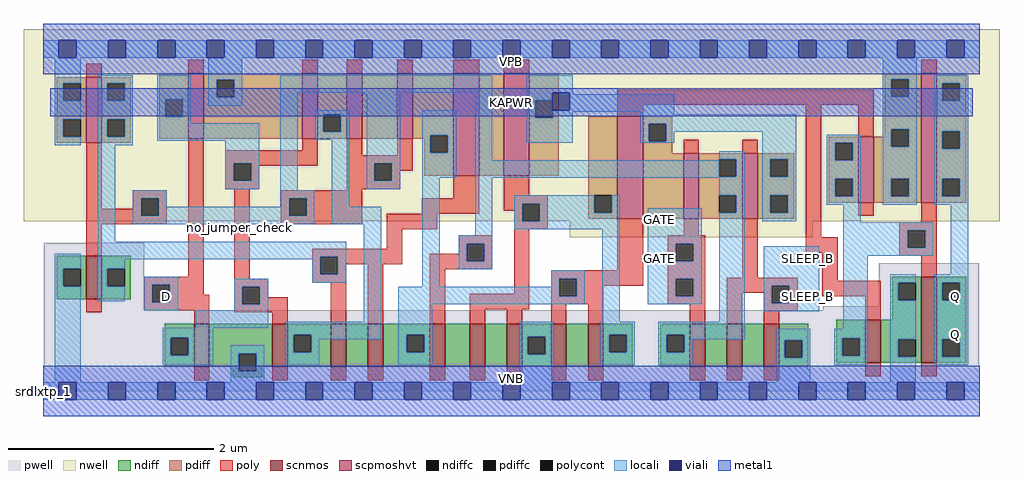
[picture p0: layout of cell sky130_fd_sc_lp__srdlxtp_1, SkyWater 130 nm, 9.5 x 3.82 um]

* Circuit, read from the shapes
.subckt sky130_fd_sc_lp__srdlxtp_1 D GATE SLEEP_B KAPWR VGND VNB VPB VPWR Q
XM1 n1 n2 VGND VNB sky130_fd_pr__nfet_01v8 w=0.42 l=0.15
XM2 VGND D n3 VNB sky130_fd_pr__nfet_01v8 w=0.42 l=0.15
XM3 n4 n3 VGND VNB sky130_fd_pr__nfet_01v8 w=0.42 l=0.15
XM4 n5 n1 n4 VNB sky130_fd_pr__nfet_01v8 w=0.42 l=0.15
XM5 n6 n1 n5 VNB sky130_fd_pr__nfet_01v8 w=0.42 l=0.15
XM6 n7 n2 n6 VNB sky130_fd_pr__nfet_01v8 w=0.42 l=0.15
XM7 n8 n9 n7 VNB sky130_fd_pr__nfet_01v8 w=0.42 l=0.15
XM8 VGND n9 n8 VNB sky130_fd_pr__nfet_01v8 w=0.42 l=0.15
XM9 n10 n6 VGND VNB sky130_fd_pr__nfet_01v8 w=0.42 l=0.15
XM10 n9 n6 n10 VNB sky130_fd_pr__nfet_01v8 w=0.42 l=0.15
XM11 n11 GATE n2 VNB sky130_fd_pr__nfet_01v8 w=0.42 l=0.15
XM12 n12 SLEEP_B n11 VNB sky130_fd_pr__nfet_01v8 w=0.42 l=0.15
XM13 VGND SLEEP_B n12 VNB sky130_fd_pr__nfet_01v8 w=0.42 l=0.15
XM14 VGND n6 n13 VNB sky130_fd_pr__nfet_01v8 w=0.42 l=0.15
XM15 Q n13 VGND VNB sky130_fd_pr__nfet_01v8 w=0.84 l=0.15
XM16 n1 n2 VPWR VPB sky130_fd_pr__pfet_01v8_hvt w=0.64 l=0.15
XM17 VPWR D n3 VPB sky130_fd_pr__pfet_01v8_hvt w=0.64 l=0.15
XM18 n4 n3 VPWR VPB sky130_fd_pr__pfet_01v8_hvt w=0.64 l=0.15
XM19 n14 n2 n4 VPB sky130_fd_pr__pfet_01v8_hvt w=0.64 l=0.15
XM20 n6 n2 n14 VPB sky130_fd_pr__pfet_01v8_hvt w=0.64 l=0.15
XM21 n15 n1 n6 VPB sky130_fd_pr__pfet_01v8_hvt w=1 l=0.25
XM22 KAPWR n9 n15 VPB sky130_fd_pr__pfet_01v8_hvt w=1 l=0.25
XM23 KAPWR n6 n9 VPB sky130_fd_pr__pfet_01v8_hvt w=1 l=0.25
XM24 n2 GATE KAPWR VPB sky130_fd_pr__pfet_01v8_hvt w=0.64 l=0.15
XM25 KAPWR SLEEP_B n2 VPB sky130_fd_pr__pfet_01v8_hvt w=0.64 l=0.15
XM26 VPWR n6 n13 VPB sky130_fd_pr__pfet_01v8_hvt w=0.64 l=0.15
XM27 Q n13 VPWR VPB sky130_fd_pr__pfet_01v8_hvt w=1.26 l=0.15
.ends

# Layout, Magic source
magic
tech sky130A
magscale 1 2
<< nwell >>
rect -38 331 1862 704
rect 1025 299 1498 331
<< pwell >>
rect 1 157 197 289
rect 1627 165 1823 249
rect 1518 157 1823 165
rect 1 49 1823 157
rect 0 0 1824 49
<< scnmos >>
rect 84 179 114 263
rect 294 47 324 131
rect 446 47 476 131
rect 560 47 590 131
rect 632 47 662 131
rect 753 47 783 131
rect 831 47 861 131
rect 903 47 933 131
rect 989 47 1019 131
rect 1061 47 1091 131
rect 1259 47 1289 131
rect 1331 47 1361 131
rect 1403 47 1433 131
rect 1601 55 1631 139
rect 1710 55 1740 223
<< scpmoshvt >>
rect 84 483 114 611
rect 283 491 313 619
rect 505 491 535 619
rect 591 491 621 619
rect 690 491 720 619
rect 799 419 849 619
rect 897 419 947 619
rect 1118 335 1168 535
rect 1247 335 1277 463
rect 1361 335 1391 463
rect 1587 367 1617 495
rect 1710 367 1740 619
<< ndiff >>
rect 27 238 84 263
rect 27 204 39 238
rect 73 204 84 238
rect 27 179 84 204
rect 114 238 171 263
rect 114 204 125 238
rect 159 204 171 238
rect 114 179 171 204
rect 1653 211 1710 223
rect 1653 177 1665 211
rect 1699 177 1710 211
rect 1653 139 1710 177
rect 237 104 294 131
rect 237 70 249 104
rect 283 70 294 104
rect 237 47 294 70
rect 324 73 446 131
rect 324 47 381 73
rect 369 39 381 47
rect 415 47 446 73
rect 476 110 560 131
rect 476 76 488 110
rect 522 76 560 110
rect 476 47 560 76
rect 590 47 632 131
rect 662 110 753 131
rect 662 76 708 110
rect 742 76 753 110
rect 662 47 753 76
rect 783 47 831 131
rect 861 47 903 131
rect 933 106 989 131
rect 933 72 944 106
rect 978 72 989 106
rect 933 47 989 72
rect 1019 47 1061 131
rect 1091 110 1148 131
rect 1091 76 1102 110
rect 1136 76 1148 110
rect 1091 47 1148 76
rect 1202 110 1259 131
rect 1202 76 1214 110
rect 1248 76 1259 110
rect 1202 47 1259 76
rect 1289 47 1331 131
rect 1361 47 1403 131
rect 1433 99 1490 131
rect 1433 65 1444 99
rect 1478 65 1490 99
rect 1433 47 1490 65
rect 1544 103 1601 139
rect 1544 69 1556 103
rect 1590 69 1601 103
rect 1544 55 1601 69
rect 1631 101 1710 139
rect 1631 67 1665 101
rect 1699 67 1710 101
rect 1631 55 1710 67
rect 1740 211 1797 223
rect 1740 177 1751 211
rect 1785 177 1797 211
rect 1740 101 1797 177
rect 1740 67 1751 101
rect 1785 67 1797 101
rect 1740 55 1797 67
rect 415 39 427 47
rect 369 27 427 39
<< pdiff >>
rect 27 599 84 611
rect 27 565 39 599
rect 73 565 84 599
rect 27 529 84 565
rect 27 495 39 529
rect 73 495 84 529
rect 27 483 84 495
rect 114 599 171 611
rect 114 565 125 599
rect 159 565 171 599
rect 114 529 171 565
rect 114 495 125 529
rect 159 495 171 529
rect 114 483 171 495
rect 226 568 283 619
rect 226 534 238 568
rect 272 534 283 568
rect 226 491 283 534
rect 313 606 505 619
rect 313 572 338 606
rect 372 572 505 606
rect 313 491 505 572
rect 535 539 591 619
rect 535 505 546 539
rect 580 505 591 539
rect 535 491 591 505
rect 621 491 690 619
rect 720 498 799 619
rect 720 491 754 498
rect 742 464 754 491
rect 788 464 799 498
rect 742 419 799 464
rect 849 419 897 619
rect 947 566 1004 619
rect 1639 607 1710 619
rect 947 532 958 566
rect 992 532 1004 566
rect 947 419 1004 532
rect 1061 381 1118 535
rect 1061 347 1073 381
rect 1107 347 1118 381
rect 1061 335 1118 347
rect 1168 520 1225 535
rect 1168 486 1179 520
rect 1213 486 1225 520
rect 1168 463 1225 486
rect 1168 335 1247 463
rect 1277 451 1361 463
rect 1277 417 1316 451
rect 1350 417 1361 451
rect 1277 381 1361 417
rect 1277 347 1316 381
rect 1350 347 1361 381
rect 1277 335 1361 347
rect 1391 451 1462 463
rect 1391 417 1416 451
rect 1450 417 1462 451
rect 1391 381 1462 417
rect 1391 347 1416 381
rect 1450 347 1462 381
rect 1391 335 1462 347
rect 1639 573 1651 607
rect 1685 573 1710 607
rect 1639 510 1710 573
rect 1639 495 1651 510
rect 1530 483 1587 495
rect 1530 449 1542 483
rect 1576 449 1587 483
rect 1530 413 1587 449
rect 1530 379 1542 413
rect 1576 379 1587 413
rect 1530 367 1587 379
rect 1617 476 1651 495
rect 1685 476 1710 510
rect 1617 413 1710 476
rect 1617 379 1651 413
rect 1685 379 1710 413
rect 1617 367 1710 379
rect 1740 599 1797 619
rect 1740 565 1751 599
rect 1785 565 1797 599
rect 1740 506 1797 565
rect 1740 472 1751 506
rect 1785 472 1797 506
rect 1740 413 1797 472
rect 1740 379 1751 413
rect 1785 379 1797 413
rect 1740 367 1797 379
<< ndiffc >>
rect 39 204 73 238
rect 125 204 159 238
rect 1665 177 1699 211
rect 249 70 283 104
rect 381 39 415 73
rect 488 76 522 110
rect 708 76 742 110
rect 944 72 978 106
rect 1102 76 1136 110
rect 1214 76 1248 110
rect 1444 65 1478 99
rect 1556 69 1590 103
rect 1665 67 1699 101
rect 1751 177 1785 211
rect 1751 67 1785 101
<< pdiffc >>
rect 39 565 73 599
rect 39 495 73 529
rect 125 565 159 599
rect 125 495 159 529
rect 238 534 272 568
rect 338 572 372 606
rect 546 505 580 539
rect 754 464 788 498
rect 958 532 992 566
rect 1073 347 1107 381
rect 1179 486 1213 520
rect 1316 417 1350 451
rect 1316 347 1350 381
rect 1416 417 1450 451
rect 1416 347 1450 381
rect 1651 573 1685 607
rect 1542 449 1576 483
rect 1542 379 1576 413
rect 1651 476 1685 510
rect 1651 379 1685 413
rect 1751 565 1785 599
rect 1751 472 1785 506
rect 1751 379 1785 413
<< poly >>
rect 84 611 114 637
rect 283 619 313 645
rect 505 619 535 645
rect 591 619 621 645
rect 690 619 720 645
rect 799 619 849 645
rect 897 619 947 645
rect 1710 619 1740 645
rect 84 355 114 483
rect 175 375 241 391
rect 175 355 191 375
rect 84 341 191 355
rect 225 341 241 375
rect 84 325 241 341
rect 84 263 114 325
rect 283 223 313 491
rect 505 469 535 491
rect 355 443 535 469
rect 355 409 371 443
rect 405 439 535 443
rect 591 459 621 491
rect 690 459 720 491
rect 591 443 720 459
rect 405 409 421 439
rect 355 393 421 409
rect 591 409 645 443
rect 679 429 720 443
rect 679 409 695 429
rect 1118 557 1617 587
rect 1118 535 1168 557
rect 591 393 695 409
rect 197 207 313 223
rect 84 153 114 179
rect 197 173 213 207
rect 247 187 313 207
rect 372 219 402 393
rect 591 391 621 393
rect 463 375 621 391
rect 799 375 849 419
rect 463 341 479 375
rect 513 341 621 375
rect 737 345 849 375
rect 897 381 947 419
rect 897 365 983 381
rect 897 351 933 365
rect 463 325 621 341
rect 669 315 767 345
rect 917 331 933 351
rect 967 331 983 365
rect 1247 463 1277 489
rect 1361 463 1391 489
rect 917 315 983 331
rect 669 277 699 315
rect 524 261 699 277
rect 809 287 875 303
rect 809 267 825 287
rect 524 227 540 261
rect 574 247 699 261
rect 753 253 825 267
rect 859 253 875 287
rect 574 227 590 247
rect 372 203 438 219
rect 524 211 590 227
rect 247 173 324 187
rect 197 157 324 173
rect 294 131 324 157
rect 372 169 388 203
rect 422 183 438 203
rect 422 169 476 183
rect 372 153 476 169
rect 446 131 476 153
rect 560 131 590 211
rect 632 131 662 247
rect 753 237 875 253
rect 753 131 783 237
rect 917 189 947 315
rect 1118 235 1168 335
rect 1247 303 1277 335
rect 831 159 947 189
rect 989 219 1168 235
rect 989 185 1005 219
rect 1039 205 1168 219
rect 1216 287 1289 303
rect 1216 253 1232 287
rect 1266 253 1289 287
rect 1216 219 1289 253
rect 1361 221 1391 335
rect 1485 299 1515 557
rect 1587 495 1617 557
rect 1587 341 1617 367
rect 1710 329 1740 367
rect 1667 313 1740 329
rect 1485 269 1547 299
rect 1039 185 1091 205
rect 989 169 1091 185
rect 1216 185 1232 219
rect 1266 185 1289 219
rect 1216 169 1289 185
rect 831 131 861 159
rect 903 131 933 159
rect 989 131 1019 169
rect 1061 131 1091 169
rect 1259 131 1289 169
rect 1331 205 1469 221
rect 1331 191 1419 205
rect 1331 131 1361 191
rect 1403 171 1419 191
rect 1453 171 1469 205
rect 1517 215 1547 269
rect 1667 279 1683 313
rect 1717 279 1740 313
rect 1667 263 1740 279
rect 1710 223 1740 263
rect 1517 185 1631 215
rect 1403 155 1469 171
rect 1403 131 1433 155
rect 1601 139 1631 185
rect 294 21 324 47
rect 446 21 476 47
rect 560 21 590 47
rect 632 21 662 47
rect 753 21 783 47
rect 831 21 861 47
rect 903 21 933 47
rect 989 21 1019 47
rect 1061 21 1091 47
rect 1259 21 1289 47
rect 1331 21 1361 47
rect 1403 21 1433 47
rect 1601 29 1631 55
rect 1710 29 1740 55
<< polycont >>
rect 191 341 225 375
rect 371 409 405 443
rect 645 409 679 443
rect 213 173 247 207
rect 479 341 513 375
rect 933 331 967 365
rect 540 227 574 261
rect 825 253 859 287
rect 388 169 422 203
rect 1005 185 1039 219
rect 1232 253 1266 287
rect 1232 185 1266 219
rect 1419 171 1453 205
rect 1683 279 1717 313
<< locali >>
rect 0 649 31 683
rect 65 649 127 683
rect 161 649 223 683
rect 257 649 319 683
rect 353 649 415 683
rect 449 649 511 683
rect 545 649 607 683
rect 641 649 703 683
rect 737 649 799 683
rect 833 649 895 683
rect 929 649 991 683
rect 1025 649 1087 683
rect 1121 649 1183 683
rect 1217 649 1279 683
rect 1313 649 1375 683
rect 1409 649 1471 683
rect 1505 649 1567 683
rect 1601 649 1663 683
rect 1697 649 1759 683
rect 1793 649 1824 683
rect 23 599 73 649
rect 23 565 39 599
rect 23 529 73 565
rect 23 495 39 529
rect 23 479 73 495
rect 107 599 175 615
rect 107 565 125 599
rect 159 565 175 599
rect 107 529 175 565
rect 107 495 125 529
rect 159 495 175 529
rect 107 479 175 495
rect 222 568 288 615
rect 222 534 238 568
rect 272 534 288 568
rect 322 606 388 649
rect 322 572 338 606
rect 372 572 388 606
rect 322 555 388 572
rect 462 581 875 615
rect 222 521 288 534
rect 222 487 421 521
rect 107 291 141 479
rect 355 443 421 487
rect 355 409 371 443
rect 405 409 421 443
rect 355 393 421 409
rect 462 391 496 581
rect 530 539 596 547
rect 530 505 546 539
rect 580 505 596 539
rect 530 489 596 505
rect 175 375 241 391
rect 175 341 191 375
rect 225 359 241 375
rect 462 375 528 391
rect 462 359 479 375
rect 225 341 479 359
rect 513 341 528 375
rect 175 325 528 341
rect 562 359 596 489
rect 630 443 695 581
rect 630 409 645 443
rect 679 409 695 443
rect 630 393 695 409
rect 738 498 804 547
rect 738 464 754 498
rect 788 464 804 498
rect 738 415 804 464
rect 841 449 875 581
rect 942 581 1031 615
rect 942 566 991 581
rect 1025 578 1031 581
rect 1635 607 1701 649
rect 942 532 958 566
rect 1025 547 1229 578
rect 992 544 1229 547
rect 992 532 1031 544
rect 942 483 1031 532
rect 1163 539 1229 544
rect 1635 573 1651 607
rect 1685 573 1701 607
rect 1163 520 1466 539
rect 1163 486 1179 520
rect 1213 505 1466 520
rect 1213 486 1229 505
rect 1163 483 1229 486
rect 1316 451 1366 467
rect 841 417 1316 449
rect 1350 417 1366 451
rect 841 415 1366 417
rect 562 325 658 359
rect 23 238 73 267
rect 23 204 39 238
rect 23 17 73 204
rect 107 261 590 291
rect 107 257 540 261
rect 107 238 159 257
rect 107 204 125 238
rect 524 227 540 257
rect 574 227 590 261
rect 107 175 159 204
rect 197 207 263 223
rect 197 173 213 207
rect 247 173 263 207
rect 197 157 263 173
rect 372 203 438 219
rect 524 211 590 227
rect 372 169 388 203
rect 422 169 438 203
rect 372 157 438 169
rect 297 123 438 157
rect 624 135 658 325
rect 738 203 772 415
rect 841 303 875 415
rect 1316 381 1366 415
rect 917 365 1073 381
rect 917 331 933 365
rect 967 347 1073 365
rect 1107 347 1123 381
rect 967 331 1123 347
rect 917 315 1123 331
rect 809 287 875 303
rect 809 253 825 287
rect 859 253 875 287
rect 809 237 875 253
rect 989 219 1055 235
rect 989 203 1005 219
rect 233 104 331 123
rect 233 70 249 104
rect 283 70 331 104
rect 472 110 658 135
rect 233 51 331 70
rect 365 73 431 89
rect 365 39 381 73
rect 415 39 431 73
rect 472 76 488 110
rect 522 101 658 110
rect 692 185 1005 203
rect 1039 185 1055 219
rect 692 169 1055 185
rect 692 110 758 169
rect 1089 135 1123 315
rect 1177 287 1282 356
rect 1177 253 1232 287
rect 1266 253 1282 287
rect 1177 219 1282 253
rect 1177 185 1232 219
rect 1266 185 1282 219
rect 1177 169 1282 185
rect 1350 347 1366 381
rect 1316 135 1366 347
rect 1400 451 1466 505
rect 1635 510 1701 573
rect 1400 417 1416 451
rect 1450 417 1466 451
rect 1400 381 1466 417
rect 1400 347 1416 381
rect 1450 347 1466 381
rect 1526 483 1592 499
rect 1526 449 1542 483
rect 1576 449 1592 483
rect 1526 413 1592 449
rect 1526 379 1542 413
rect 1576 379 1592 413
rect 1526 363 1592 379
rect 1635 476 1651 510
rect 1685 476 1701 510
rect 1635 413 1701 476
rect 1635 379 1651 413
rect 1685 379 1701 413
rect 1635 363 1701 379
rect 1735 599 1801 615
rect 1735 565 1751 599
rect 1785 565 1801 599
rect 1735 506 1801 565
rect 1735 472 1751 506
rect 1785 472 1801 506
rect 1735 413 1801 472
rect 1735 379 1751 413
rect 1785 379 1801 413
rect 1735 363 1801 379
rect 1400 331 1466 347
rect 1558 329 1592 363
rect 1558 313 1733 329
rect 1403 205 1511 282
rect 1403 171 1419 205
rect 1453 171 1511 205
rect 1403 155 1511 171
rect 1558 279 1683 313
rect 1717 279 1733 313
rect 1558 263 1733 279
rect 522 76 538 101
rect 472 51 538 76
rect 692 76 708 110
rect 742 76 758 110
rect 692 51 758 76
rect 928 106 994 135
rect 928 72 944 106
rect 978 72 994 106
rect 365 17 431 39
rect 928 17 994 72
rect 1086 110 1152 135
rect 1086 76 1102 110
rect 1136 76 1152 110
rect 1086 51 1152 76
rect 1198 110 1366 135
rect 1558 121 1606 263
rect 1767 227 1801 363
rect 1198 76 1214 110
rect 1248 101 1366 110
rect 1248 76 1264 101
rect 1198 51 1264 76
rect 1428 99 1494 121
rect 1428 65 1444 99
rect 1478 65 1494 99
rect 1428 17 1494 65
rect 1540 103 1606 121
rect 1540 69 1556 103
rect 1590 69 1606 103
rect 1540 51 1606 69
rect 1649 211 1699 227
rect 1649 177 1665 211
rect 1649 101 1699 177
rect 1649 67 1665 101
rect 1649 17 1699 67
rect 1735 211 1801 227
rect 1735 177 1751 211
rect 1785 177 1801 211
rect 1735 101 1801 177
rect 1735 67 1751 101
rect 1785 67 1801 101
rect 1735 51 1801 67
rect 0 -17 31 17
rect 65 -17 127 17
rect 161 -17 223 17
rect 257 -17 319 17
rect 353 -17 415 17
rect 449 -17 511 17
rect 545 -17 607 17
rect 641 -17 703 17
rect 737 -17 799 17
rect 833 -17 895 17
rect 929 -17 991 17
rect 1025 -17 1087 17
rect 1121 -17 1183 17
rect 1217 -17 1279 17
rect 1313 -17 1375 17
rect 1409 -17 1471 17
rect 1505 -17 1567 17
rect 1601 -17 1663 17
rect 1697 -17 1759 17
rect 1793 -17 1824 17
<< viali >>
rect 31 649 65 683
rect 127 649 161 683
rect 223 649 257 683
rect 319 649 353 683
rect 415 649 449 683
rect 511 649 545 683
rect 607 649 641 683
rect 703 649 737 683
rect 799 649 833 683
rect 895 649 929 683
rect 991 649 1025 683
rect 1087 649 1121 683
rect 1183 649 1217 683
rect 1279 649 1313 683
rect 1375 649 1409 683
rect 1471 649 1505 683
rect 1567 649 1601 683
rect 1663 649 1697 683
rect 1759 649 1793 683
rect 991 566 1025 581
rect 991 547 992 566
rect 992 547 1025 566
rect 31 -17 65 17
rect 127 -17 161 17
rect 223 -17 257 17
rect 319 -17 353 17
rect 415 -17 449 17
rect 511 -17 545 17
rect 607 -17 641 17
rect 703 -17 737 17
rect 799 -17 833 17
rect 895 -17 929 17
rect 991 -17 1025 17
rect 1087 -17 1121 17
rect 1183 -17 1217 17
rect 1279 -17 1313 17
rect 1375 -17 1409 17
rect 1471 -17 1505 17
rect 1567 -17 1601 17
rect 1663 -17 1697 17
rect 1759 -17 1793 17
<< metal1 >>
rect 0 683 1824 715
rect 0 649 31 683
rect 65 649 127 683
rect 161 649 223 683
rect 257 649 319 683
rect 353 649 415 683
rect 449 649 511 683
rect 545 649 607 683
rect 641 649 703 683
rect 737 649 799 683
rect 833 649 895 683
rect 929 649 991 683
rect 1025 649 1087 683
rect 1121 649 1183 683
rect 1217 649 1279 683
rect 1313 649 1375 683
rect 1409 649 1471 683
rect 1505 649 1567 683
rect 1601 649 1663 683
rect 1697 649 1759 683
rect 1793 649 1824 683
rect 0 617 1824 649
rect 14 581 1810 589
rect 14 547 991 581
rect 1025 547 1810 581
rect 14 535 1810 547
rect 0 17 1824 49
rect 0 -17 31 17
rect 65 -17 127 17
rect 161 -17 223 17
rect 257 -17 319 17
rect 353 -17 415 17
rect 449 -17 511 17
rect 545 -17 607 17
rect 641 -17 703 17
rect 737 -17 799 17
rect 833 -17 895 17
rect 929 -17 991 17
rect 1025 -17 1087 17
rect 1121 -17 1183 17
rect 1217 -17 1279 17
rect 1313 -17 1375 17
rect 1409 -17 1471 17
rect 1505 -17 1567 17
rect 1601 -17 1663 17
rect 1697 -17 1759 17
rect 1793 -17 1824 17
rect 0 -49 1824 -17
<< labels >>
flabel pwell s 0 0 1824 49 0 FreeSans 200 0 0 0 VNB
port 6 nsew ground bidirectional
flabel nwell s 0 617 1824 666 0 FreeSans 200 0 0 0 VPB
port 7 nsew power bidirectional
rlabel comment s 0 0 0 0 4 srdlxtp_1
flabel comment s 382 318 382 318 0 FreeSans 200 90 0 0 no_jumper_check
flabel metal1 s 14 535 1810 589 0 FreeSans 200 0 0 0 KAPWR
port 4 nsew power bidirectional
flabel metal1 s 0 617 1824 666 0 FreeSans 340 0 0 0 VPWR
port 8 nsew power bidirectional
flabel metal1 s 0 0 1824 49 0 FreeSans 340 0 0 0 VGND
port 5 nsew ground bidirectional
flabel locali s 1471 168 1505 202 0 FreeSans 340 0 0 0 SLEEP_B
port 3 nsew signal input
flabel locali s 1471 242 1505 276 0 FreeSans 340 0 0 0 SLEEP_B
port 3 nsew signal input
flabel locali s 1759 94 1793 128 0 FreeSans 340 0 0 0 Q
port 9 nsew signal output
flabel locali s 1759 168 1793 202 0 FreeSans 340 0 0 0 Q
port 9 nsew signal output
flabel locali s 223 168 257 202 0 FreeSans 340 0 0 0 D
port 1 nsew signal input
flabel locali s 1183 242 1217 276 0 FreeSans 340 0 0 0 GATE
port 2 nsew clock input
flabel locali s 1183 316 1217 350 0 FreeSans 340 0 0 0 GATE
port 2 nsew clock input
<< properties >>
string LEFsite unit
string LEFclass CORE
string FIXED_BBOX 0 0 1824 666
string GDS_FILE $PDKPATH/libs.ref/sky130_fd_sc_lp/gds/sky130_fd_sc_lp.gds
string LEFsymmetry X Y R90
string GDS_END 4950660
string GDS_START 4937416
<< end >>
